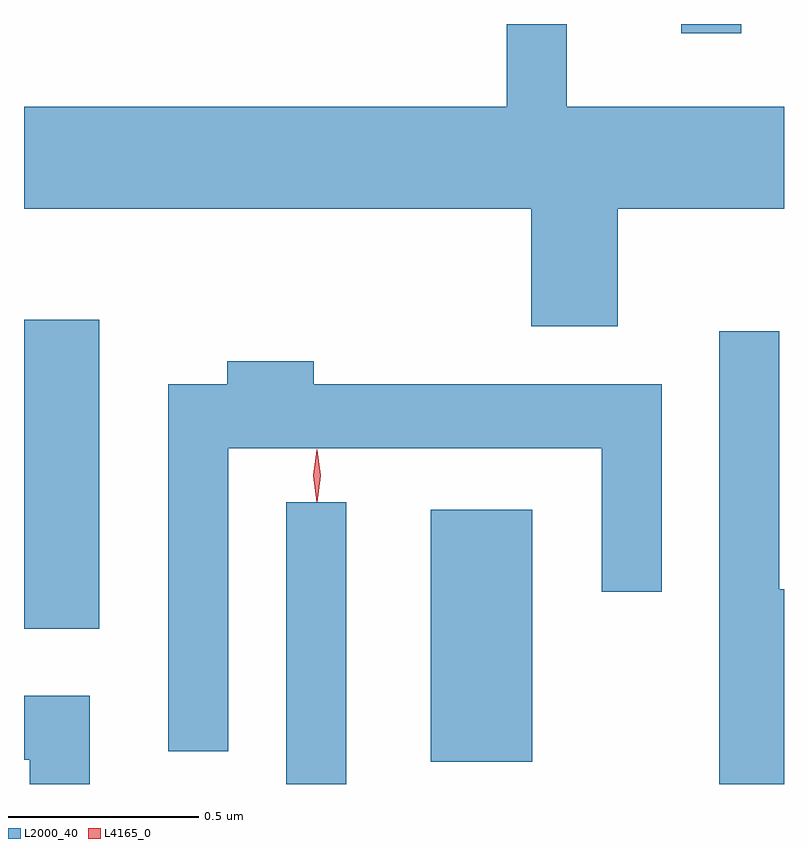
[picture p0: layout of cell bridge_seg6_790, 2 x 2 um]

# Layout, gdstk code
import gdstk
lib = gdstk.Library(unit=1e-6, precision=1e-09)
def R(c, l, rs):  # rectangles x0, y0, x1, y1
    for r in rs: c.add(gdstk.rectangle(r[:2], r[2:], *l))
def P(c, l, *ps):  # polygons
    for p in ps: c.add(gdstk.Polygon(p, *l))
L2000_40 = (2000, 40)
L4165_0 = (4165, 0)

bridge_seg6_790 = lib.new_cell('bridge_seg6_790')
R(bridge_seg6_790, L2000_40, [(501.996,1537.422,502.154,1538.163), (502.376,1537.481,502.644,1538.144), (501.306,1537.831,501.504,1538.644), (503.036,1539.398,503.194,1539.422)])
P(bridge_seg6_790, L2000_40, [(502.869,1538.936),(503.306,1538.936),(503.306,1539.204),(502.734,1539.204),(502.734,1539.422),(502.576,1539.422),(502.576,1539.204),(501.306,1539.204),(501.306,1538.936),(502.641,1538.936),(502.641,1538.626),(502.869,1538.626)],
  [(503.306,1537.934),(503.294,1537.934),(503.294,1538.613),(503.136,1538.613),(503.136,1537.422),(503.306,1537.422)],
  [(501.844,1538.306),(502.826,1538.306),(502.826,1537.928),(502.984,1537.928),(502.984,1538.474),(502.069,1538.474),(502.069,1538.534),(501.841,1538.534),(501.841,1538.474),(501.686,1538.474),(501.686,1537.508),(501.844,1537.508)],
  [(501.479,1537.654),(501.306,1537.654),(501.306,1537.486),(501.321,1537.486),(501.321,1537.422),(501.479,1537.422)])
P(bridge_seg6_790, L4165_0, [(502.077,1538.164),(502.077,1538.164),(502.067,1538.233),(502.077,1538.302),(502.077,1538.303),(502.078,1538.302),(502.087,1538.233),(502.078,1538.164)],
  [(502.077,1538.167),(502.077,1538.167),(502.067,1538.234),(502.077,1538.3),(502.077,1538.301),(502.078,1538.3),(502.087,1538.234),(502.078,1538.167)])

lib.write_gds('bridge_seg6_790.gds')
